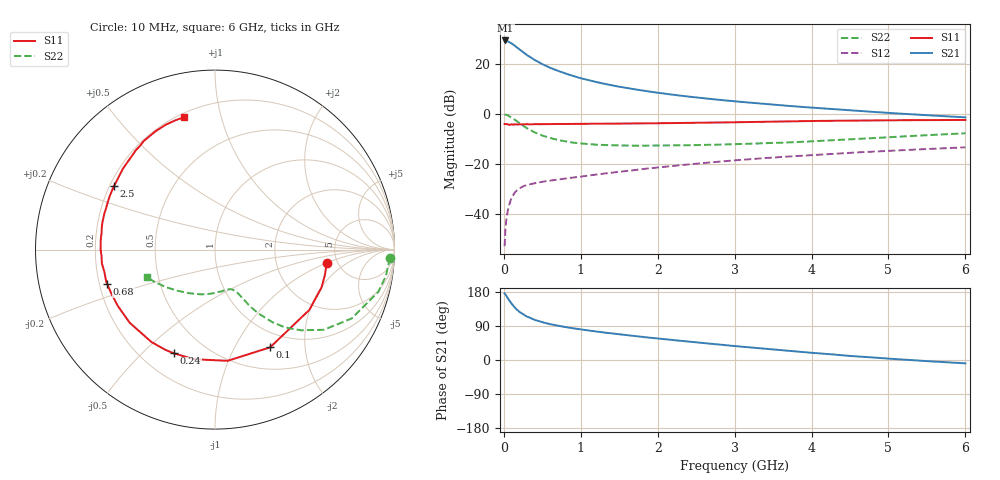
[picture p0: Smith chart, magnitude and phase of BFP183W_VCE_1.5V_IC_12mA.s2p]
! Infineon Technologies  Discrete & RF Semiconductors
! BFP183W
! VCE = 1.5 V,  IC =  12 mA
! Common Emitter S-Parameters:  Jan 2016
# GHz  S  MA  R  50
!  f  S11  S21  S12  S22
! GHz  MAG  ANG  MAG  ANG  MAG  ANG  MAG  ANG
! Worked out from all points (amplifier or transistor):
!   210 points, 10 MHz to 6 GHz, reference 50 ohm
!   highest |S21| = 29.3 dB at 20 MHz (marker M1)
!   |S21| within 3 dB of that: start of sweep to 179.7 MHz
!   unconditionally stable (mu >= 1): 1.146 GHz to 5.667 GHz
!   at 185 MHz: K = 0.26, MSG = 28.2 dB, |S12| = -30.1 dB
!   at 1.52 GHz: K = 1.11, MAG = 14.8 dB, |S12| = -23.0 dB
!   at 6 GHz: K = 0.98, MSG = 6.0 dB, |S12| = -13.3 dB
!   S11 on the Smith chart (normalised r, x): 10 MHz: 4.12, -0.98; 100 MHz: 0.78, -1.40; 240 MHz: 0.33, -0.63; 680 MHz: 0.23, -0.15; 2.5 GHz: 0.22, +0.28; 6 GHz: 0.22, +0.77
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0.01  0.6276 -6.6  29.15 175.9  0.0023 89.4  0.9756 -2.8
0.02  0.6285 -13.4  29.23 173.2  0.0048 81.9  0.9682 -5.9
0.03  0.6299 -19.7  29.08 170.0  0.0072 82.1  0.9632 -8.8
0.05  0.6239 -32.5  28.32 163.2  0.0115 76.3  0.9401 -14.5
0.1  0.6252 -60.6  25.65 148.7  0.0212 64.2  0.853 -26.7
0.15  0.6236 -83.5  22.55 136.5  0.028 55.6  0.753 -36.4
0.2  0.622 -100.9  19.54 127.3  0.0325 49.7  0.6593 -43.0
0.24  0.6214 -111.6  17.55 121.8  0.0352 46.4  0.5975 -47.0
0.3  0.6249 -124.5  14.95 114.5  0.0383 42.9  0.5185 -51.5
0.4  0.6261 -139.4  11.94 105.9  0.0416 40.0  0.4291 -55.9
0.5  0.6259 -149.9  9.851 99.6  0.0443 39.0  0.3701 -58.3
0.6  0.6275 -157.4  8.355 94.6  0.0467 38.9  0.3305 -59.7
0.68  0.6305 -162.3  7.487 91.5  0.0485 39.6  0.3087 -60.6
0.8  0.6288 -168.8  6.39 86.9  0.0513 40.6  0.283 -61.9
1.02  0.6339 -177.4  5.067 80.2  0.0567 42.7  0.2563 -64.0
1.4  0.6384 171.2  3.736 70.2  0.0673 45.6  0.2373 -68.6
2.02  0.6523 157.0  2.622 56.3  0.086 48.0  0.2334 -78.4
2.5  0.6646 147.6  2.134 46.5  0.1017 48.1  0.2391 -87.4
3.1  0.686 136.9  1.731 35.0  0.1218 46.4  0.2514 -100.2
4.1  0.7258 121.9  1.304 17.5  0.1546 41.9  0.2884 -123.7
5.1  0.7485 110.7  1.026 2.3  0.1866 36.4  0.3498 -144.3
6  0.7584 103.1  0.855 -8.9  0.2158 31.2  0.4105 -157.9
